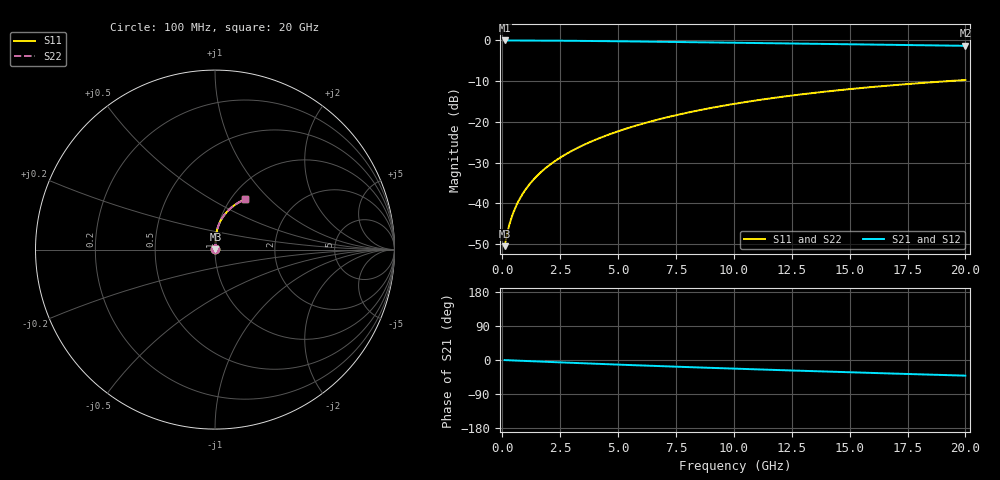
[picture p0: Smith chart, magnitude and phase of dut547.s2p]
! Touchstone file exported from HFSS 2024.1.0
!  File:  C:/UserFiles/LocalFiles/RDL_TSV_Batchsim/temp_RDL_bottom_547_1779689205.aedt
!  Generated:  02:09:11 PM May 25, 2026
!  Design:  RDL_bottom
!  Project:  temp_RDL_bottom_547_1779689205
!  Setup:  Setup1
!  Solution:  Sweep
! Variables:
!  dtsv = 10.80580581um
!  hbump = 3um
!  htsv = 66.45um
!  ldown = 623.82um
!  lrdl = 100um
!  p = 40
!  p1 = 47.42um
!  rhole = 1um
!  t = 450um
!  tdown = 3.94um
!  trdl = 3.915915916um
!  wdown = 24.77um
!  wrdl = 20um
# GHz S MA R 50.000000
! Terminal data exported
! Port[1] = RDL1_T1
! Port[2] = RDL1_T2
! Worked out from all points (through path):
!   200 points, 100 MHz to 20 GHz, reference 50 ohm
!   highest |S21| = -0.02 dB at 100 MHz (marker M1); lowest = -1.3 dB at 20 GHz (marker M2)
!   group delay of S21, straight-line fit = 5.67 ps
!   lowest |S11| = -50.5 dB at 100 MHz (marker M3), VSWR 1.01, Z = 50.2 + j0.167 ohm
!   |S11| at or under -10 dB: start of sweep to 19.24 GHz
!   |S22| runs from -50.5 to -9.7 dB; largest |S21 - S12| = 5.3e-15
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0.1  0.002986 33.8  0.9975 -0.3  0.9975 -0.3  0.002986 33.8
! Gamma 0 0 0 0
! Port Impedance 50 0 50 0
0.2  0.00416 50.4  0.9973 -0.5  0.9973 -0.5  0.00416 50.4
0.3  0.00543 58.9  0.9971 -0.8  0.9971 -0.8  0.00543 58.9
0.4  0.006712 64.2  0.9969 -1.0  0.9969 -1.0  0.006711 64.2
0.5  0.008007 68.1  0.9967 -1.3  0.9967 -1.3  0.008006 68.1
0.6  0.009319 71.0  0.9965 -1.5  0.9965 -1.5  0.009318 71.0
0.8  0.012 75.1  0.9962 -2.0  0.9962 -2.0  0.012 75.2
1.1  0.01612 79.0  0.9955 -2.8  0.9955 -2.8  0.01612 79.0
1.3  0.01892 80.7  0.995 -3.3  0.995 -3.3  0.01892 80.7
1.6  0.02319 82.5  0.9941 -4.0  0.9941 -4.0  0.02319 82.5
2.1  0.03046 84.3  0.9923 -5.3  0.9923 -5.3  0.03047 84.4
2.7  0.03946 85.6  0.9895 -6.8  0.9895 -6.8  0.03946 85.6
3.5  0.05192 86.4  0.9851 -8.7  0.9851 -8.7  0.05192 86.4
4.2  0.06324 86.5  0.9806 -10.3  0.9806 -10.3  0.06325 86.5
5  0.07664 86.1  0.975 -12.2  0.975 -12.2  0.07664 86.1
6.8  0.1082 84.2  0.9612 -16.2  0.9612 -16.2  0.1082 84.2
8.4  0.1371 81.7  0.9484 -19.5  0.9484 -19.5  0.1371 81.7
10.1  0.1679 78.5  0.9347 -23.0  0.9347 -23.0  0.1679 78.5
11.7  0.1964 75.3  0.9219 -26.1  0.9219 -26.1  0.1965 75.3
13.4  0.2258 71.9  0.9084 -29.4  0.9084 -29.4  0.2259 71.9
16.7  0.2791 65.2  0.8826 -35.5  0.8826 -35.5  0.2792 65.3
20  0.3266 58.9  0.8575 -41.3  0.8575 -41.3  0.3267 58.9
